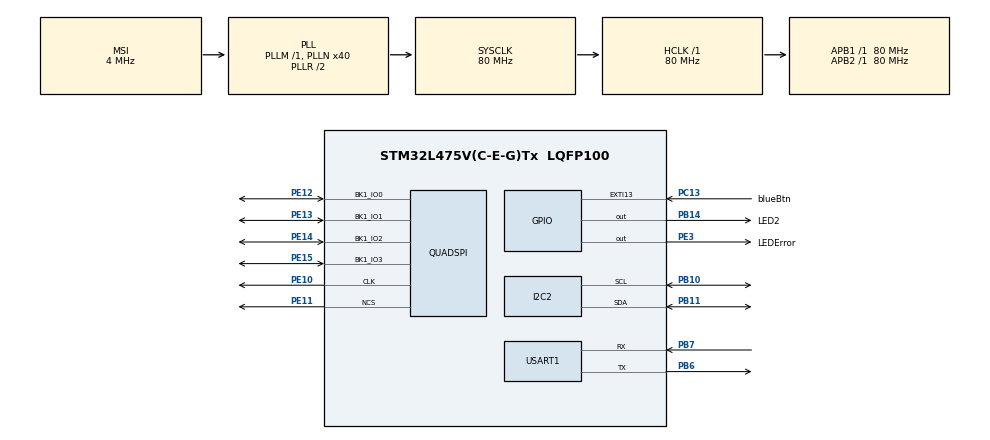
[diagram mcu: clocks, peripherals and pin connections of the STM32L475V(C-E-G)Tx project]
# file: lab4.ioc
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FREERTOS.Tasks01=chageModeTask,0,128,StartChangeModeTask,Default,NULL,Dynamic,NULL,NULL;transmitDataTas,0,256,StartTransmitDataTask,Default,NULL,Dynamic,NULL,NULL;readSensorTask,0,128,StartReadSensorTask,Default,NULL,Dynamic,NULL,NULL
I2C2.Timing=0x10909CEC
Mcu.Family=STM32L4
Mcu.Name=STM32L475V(C-E-G)Tx
Mcu.Package=LQFP100
NVIC.EXTI15_10_IRQn=true\:5\:0\:false\:false\:true\:true\:true\:true\:true
NVIC.PriorityGroup=NVIC_PRIORITYGROUP_4
NVIC.TIM1_UP_TIM16_IRQn=true\:15\:0\:false\:false\:true\:false\:false\:true\:true
NVIC.TimeBase=TIM1_UP_TIM16_IRQn
NVIC.TimeBaseIP=TIM16
PB10.Mode=I2C
PB10.Signal=I2C2_SCL
PB11.Mode=I2C
PB11.Signal=I2C2_SDA
PB14.GPIO_Label=LED2
PB14.Signal=GPIO_Output
PB6.Mode=Asynchronous
PB6.Signal=USART1_TX
PB7.Mode=Asynchronous
PB7.Signal=USART1_RX
PC13.GPIO_Label=blueBtn
PC13.Signal=GPXTI13
PE10.Mode=Single Bank
PE10.Signal=QUADSPI_CLK
PE11.Mode=Single Bank
PE11.Signal=QUADSPI_NCS
PE12.Mode=Single Bank
PE12.Signal=QUADSPI_BK1_IO0
PE13.Mode=Single Bank
PE13.Signal=QUADSPI_BK1_IO1
PE14.Mode=Single Bank
PE14.Signal=QUADSPI_BK1_IO2
PE15.Mode=Single Bank
PE15.Signal=QUADSPI_BK1_IO3
PE3.GPIO_Label=LEDError
PE3.Signal=GPIO_Output
ProjectManager.HeapSize=0x200
ProjectManager.StackSize=0x400
ProjectManager.TargetToolchain=STM32CubeIDE
RCC.ADCFreq_Value=48000000
RCC.AHBFreq_Value=80000000
RCC.APB1Freq_Value=80000000
RCC.APB1TimFreq_Value=80000000
RCC.APB2Freq_Value=80000000
RCC.APB2TimFreq_Value=80000000
RCC.CortexFreq_Value=80000000
RCC.HCLKFreq_Value=80000000
RCC.HSE_VALUE=8000000
RCC.HSI_VALUE=16000000
RCC.LSE_VALUE=32768
RCC.MSI_VALUE=4000000
RCC.PLLN=40
RCC.PLLSAI1N=24
RCC.SYSCLKFreq_VALUE=80000000
RCC.SYSCLKSource=RCC_SYSCLKSOURCE_PLLCLK
RCC.USBFreq_Value=48000000
RCC.VCOOutputFreq_Value=160000000
USART1.VirtualMode-Asynchronous=VM_ASYNC
VP_FREERTOS_VS_CMSIS_V1.Mode=CMSIS_V1
VP_SYS_VS_tim16.Mode=TIM16
board=B-L475E-IOT01A1

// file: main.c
/* USER CODE BEGIN Header */
/**
  ******************************************************************************
  * @file           : main.c
  * @brief          : Main program body
  ******************************************************************************
  * @attention
  *
  * Copyright (c) 2023 STMicroelectronics.
  * All rights reserved.
  *
  * This software is licensed under terms that can be found in the LICENSE file
  * in the root directory of this software component.
  * If no LICENSE file comes with this software, it is provided AS-IS.
  *
  ******************************************************************************
  */
/* USER CODE END Header */
#include "main.h"
#include "cmsis_os.h"

/* USER CODE BEGIN Includes */
#include "stm32l475e_iot01.h"
#include "stm32l475e_iot01_gyro.h"
#include "stm32l475e_iot01_accelero.h"
#include "stm32l475e_iot01_magneto.h"
#include "stm32l475e_iot01_hsensor.h"
#include "stm32l475e_iot01_tsensor.h"
#include "stm32l475e_iot01_psensor.h"
#include "stm32l475e_iot01_qspi.h"

#include <stdio.h>
#include <string.h>
/* USER CODE END Includes */

/* USER CODE BEGIN PM */
#define WRITE_READ_ADDR 0x00
/* USER CODE END PM */

I2C_HandleTypeDef hi2c2;

QSPI_HandleTypeDef hqspi;

UART_HandleTypeDef huart1;

osThreadId chageModeTaskHandle;
osThreadId transmitDataTasHandle;
osThreadId readSensorTaskHandle;
/* USER CODE BEGIN PV */
	float temperature;
	float pressure;
	char buf[1000];
	int counter = 0;

	uint8_t flag = 0;
	int sensorMode = -1;

	int eraseState = 0;
	int eraseArrFlashState = 0;
	int isRead = 0;
	uint32_t Addr_Start = WRITE_READ_ADDR;
	int validNum = 0;

	int temperatureNum = 0;
	uint8_t temperatureArr[1];
	uint8_t temperatureArrFlash[50] = {0};
	float temperatureSum = 0;
	float temperatureMean = 0;
	float temperatureVarSum = 0;
	float temperatureVar = 0;

	int pressureNum = 0;
	uint16_t pressureArr[1];
	uint16_t pressureArrFlash[10] = {0};
	float pressureSum = 0;
	float pressureMean = 0;
	float pressureVarSum = 0;
	float pressureVar = 0;

	int accNum = 0;
	int16_t acceleration[3];
	int accelerationXYZ[3];
	int accelerationXYZFlash[15];
	//////////////acc_X///////////////
	int accelerationX[5];
	int x = 0;
	int x_i = 0;
	int accelerationX_Sum;
	int accelerationX_Mean;
	int accelerationX_VarSum;
	int accelerationX_Variance;
	//////////////acc_Y///////////////
	int accelerationY[5];
	int y = 0;
	int y_i = 1;
	int accelerationY_Sum;
	int accelerationY_Mean;
	int accelerationY_VarSum;
	int accelerationY_Variance;
	//////////////acc_Z///////////////
	int accelerationZ[5];
	int z = 0;
	int z_i = 2;
	int accelerationZ_Sum;
	int accelerationZ_Mean;
	int accelerationZ_VarSum;
	int accelerationZ_Variance;

	int magNum = 0;
	int16_t magnetic[3];
	int magneticXYZ[3];
	int magneticXYZFlash[15];
	//////////////acc_X///////////////
	int magneticX[5];
	int magneticX_Sum;
	int magneticX_Mean;
	int magneticX_VarSum;
	int magneticX_Variance;
	//////////////acc_Y///////////////
	int magneticY[5];
	int magneticY_Sum;
	int magneticY_Mean;
	int magneticY_VarSum;
	int magneticY_Variance;
	//////////////acc_Z///////////////
	int magneticZ[5];
	int magneticZ_Sum;
	int magneticZ_Mean;
	int magneticZ_VarSum;
	int magneticZ_Variance;
	void HAL_GPIO_EXTI_Callback(uint16_t GPIO_Pin);
/* USER CODE END PV */

void SystemClock_Config(void);
static void MX_GPIO_Init(void);
static void MX_I2C2_Init(void);
static void MX_USART1_UART_Init(void);
static void MX_QUADSPI_Init(void);
void StartChangeModeTask(void const * argument);
void StartTransmitDataTask(void const * argument);
void StartReadSensorTask(void const * argument);

int main(void)
{
  /* USER CODE BEGIN 1 */
//
//---------------------------Part3_Test_Code-----------------------------------//
//	void *Addr_Start = WRITE_READ_ADDR;
//	void *Addr_Read = WRITE_READ_ADDR;
//
//	uint8_t example_arr[5] = {0,1,2,3,4};
//	uint8_t example_copy[5] = {0,0,0,0,0};
//
//	uint8_t example_arr2[3] = {5,6,7};
//	uint8_t example_copy2[8];

  /* USER CODE END 1 */

  /* MCU Configuration--------------------------------------------------------*/

  /* Reset of all peripherals, Initializes the Flash interface and the Systick. */
  HAL_Init();

  /* USER CODE BEGIN Init */
  BSP_PSENSOR_Init ();
  BSP_HSENSOR_Init ();
  BSP_TSENSOR_Init ();
  BSP_GYRO_Init ();
  BSP_MAGNETO_Init();
  BSP_ACCELERO_Init();

  /* USER CODE END Init */

  /* Configure the system clock */
  SystemClock_Config();

  /* Initialize all configured peripherals */
  MX_GPIO_Init();
  MX_I2C2_Init();
  MX_USART1_UART_Init();
  MX_QUADSPI_Init();
  /* USER CODE BEGIN 2 */
  BSP_QSPI_Init();
  /* USER CODE END 2 */

  /* Create the thread(s) */
  /* definition and creation of chageModeTask */
  osThreadDef(chageModeTask, StartChangeModeTask, osPriorityNormal, 0, 128);
  chageModeTaskHandle = osThreadCreate(osThread(chageModeTask), NULL);

  /* definition and creation of transmitDataTas */
  osThreadDef(transmitDataTas, StartTransmitDataTask, osPriorityNormal, 0, 256);
  transmitDataTasHandle = osThreadCreate(osThread(transmitDataTas), NULL);

  /* definition and creation of readSensorTask */
  osThreadDef(readSensorTask, StartReadSensorTask, osPriorityNormal, 0, 128);
  readSensorTaskHandle = osThreadCreate(osThread(readSensorTask), NULL);

  /* Start scheduler */
  osKernelStart();

  /* We should never get here as control is now taken by the scheduler */
  /* Infinite loop */
  while (1)
  {

    /* USER CODE BEGIN 3 */

// ----------------------------------------------PART1_v1------------------------------------------------------- //
	  /*
	  BSP_GYRO_GetXYZ(angVelocity);
	  humidity = BSP_HSENSOR_ReadHumidity();
	  temperature = BSP_TSENSOR_ReadTemp();
	  pressure = BSP_PSENSOR_ReadPressure();
	  sprintf(buf,
			  "1.Angular Velocity: X:%.2f, Y:%.2f, Z:%.2f\r\n"
			  "2.Humidity:%.2f\r\n"
			  "3.Temperature: %.2f\r\n"
			  "4.Pressure:%.2f\r\n"
			  " \r\n",
			  angVelocity[0], angVelocity[1], angVelocity[2], humidity, temperature, pressure);
	  HAL_UART_Transmit(&huart1, buf, sizeof(buf), 1000);
	  //read each sensor value (four of them) at 10 Hz.
	  HAL_Delay(100);
	   */
//
//	  counter = 0;
//	  while(1){
//		  BSP_GYRO_GetXYZ(angVelocity);
//		  humidity = BSP_HSENSOR_ReadHumidity();
//		  temperature = BSP_TSENSOR_ReadTemp();
//		  pressure = BSP_PSENSOR_ReadPressure();
//
//		  while((HAL_GPIO_ReadPin (blueBtn_GPIO_Port, blueBtn_Pin) == 0) && counter%4 == 0){
//			  if((HAL_GPIO_ReadPin (blueBtn_GPIO_Port, blueBtn_Pin) == 1)&& counter%4 == 0){
//				  sprintf(buf,
//						  "1.Angular Velocity: X:%.2f, Y:%.2f, Z:%.2f\r\n"
//						  " \r\n",
//						  angVelocity[0], angVelocity[1], angVelocity[2]);
//				  HAL_UART_Transmit(&huart1, buf, sizeof(buf), 1000);
//				  counter++;
//				  break;
//			  }
//		  }
//
//		  while((HAL_GPIO_ReadPin (blueBtn_GPIO_Port, blueBtn_Pin) == 0) && counter%4 == 1){
//			  if((HAL_GPIO_ReadPin (blueBtn_GPIO_Port, blueBtn_Pin) == 1)&& counter%4 == 1){
//				  sprintf(buf,
//						  "2.Humidity:%.2f\r\n"
//						  " \r\n",
//						  humidity);
//				  HAL_UART_Transmit(&huart1, buf, sizeof(buf), 1000);
//				  counter++;
//				  break;
//			  }
//		  }
//
//		  while((HAL_GPIO_ReadPin (blueBtn_GPIO_Port, blueBtn_Pin) == 0) && counter%4 == 2){
//			  if((HAL_GPIO_ReadPin (blueBtn_GPIO_Port, blueBtn_Pin) == 1)&& counter%4 == 2){
//				  sprintf(buf,
//						  "3.Temperature: %.2f\r\n"
//						  " \r\n",
//						  temperature);
//				  HAL_UART_Transmit(&huart1, buf, sizeof(buf), 1000);
//				  counter++;
//				  break;
//			  }
//		  }
//
//		  while((HAL_GPIO_ReadPin (blueBtn_GPIO_Port, blueBtn_Pin) == 0) && counter%4 == 3){
//			  if((HAL_GPIO_ReadPin (blueBtn_GPIO_Port, blueBtn_Pin) == 1)&& counter%4 == 3){
//				  sprintf(buf,
//						  "4.Pressure:%.2f\r\n"
//						  " \r\n",
//						  pressure);
//				  HAL_UART_Transmit(&huart1, buf, sizeof(buf), 1000);
//				  counter++;
//				  break;
//			  }
//		  }
//		  //clear buf: make sure vlaues for angular velocity won't be printed when only other three values are expected
//		  memset(buf, '\0', sizeof(buf));
//	  }

// ----------------------------------------------PART1_v1------------------------------------------------------- //

// -----------------------------------------PART3-------------------------------------------------- //
	  /*
	  HAL_GPIO_WritePin(LEDError_GPIO_Port, LEDError_Pin, GPIO_PIN_SET);
	  if(BSP_QSPI_Erase_Block((uint32_t) WRITE_READ_ADDR) != QSPI_OK)
		  Error_Handler();
	  	  if(BSP_QSPI_Write(example_arr, (uint32_t) WRITE_READ_ADDR, sizeof(example_arr)) != QSPI_OK)
	  		  Error_Handler();
	  	  if(BSP_QSPI_Read(example_copy, (uint32_t) WRITE_READ_ADDR, sizeof(example_copy)) != QSPI_OK)
	  		  Error_Handler();

	  	  if(BSP_QSPI_Write(example_arr2, (uint32_t) WRITE_READ_ADDR + sizeof(example_arr), sizeof(example_arr2)) != QSPI_OK)
	  		  Error_Handler();
	  	  if(BSP_QSPI_Read(example_copy2, (uint32_t) WRITE_READ_ADDR, sizeof(example_copy2)) != QSPI_OK)
	  		  Error_Handler();
	   */
  }
  /* USER CODE END 3 */
}

void SystemClock_Config(void)
{
  RCC_OscInitTypeDef RCC_OscInitStruct = {0};
  RCC_ClkInitTypeDef RCC_ClkInitStruct = {0};

  /** Configure the main internal regulator output voltage
  */
  if (HAL_PWREx_ControlVoltageScaling(PWR_REGULATOR_VOLTAGE_SCALE1) != HAL_OK)
  {
    Error_Handler();
  }

  /** Initializes the RCC Oscillators according to the specified parameters
  * in the RCC_OscInitTypeDef structure.
  */
  RCC_OscInitStruct.OscillatorType = RCC_OSCILLATORTYPE_MSI;
  RCC_OscInitStruct.MSIState = RCC_MSI_ON;
  RCC_OscInitStruct.MSICalibrationValue = 0;
  RCC_OscInitStruct.MSIClockRange = RCC_MSIRANGE_6;
  RCC_OscInitStruct.PLL.PLLState = RCC_PLL_ON;
  RCC_OscInitStruct.PLL.PLLSource = RCC_PLLSOURCE_MSI;
  RCC_OscInitStruct.PLL.PLLM = 1;
  RCC_OscInitStruct.PLL.PLLN = 40;
  RCC_OscInitStruct.PLL.PLLP = RCC_PLLP_DIV7;
  RCC_OscInitStruct.PLL.PLLQ = RCC_PLLQ_DIV2;
  RCC_OscInitStruct.PLL.PLLR = RCC_PLLR_DIV2;
  if (HAL_RCC_OscConfig(&RCC_OscInitStruct) != HAL_OK)
  {
    Error_Handler();
  }

  /** Initializes the CPU, AHB and APB buses clocks
  */
  RCC_ClkInitStruct.ClockType = RCC_CLOCKTYPE_HCLK|RCC_CLOCKTYPE_SYSCLK
                              |RCC_CLOCKTYPE_PCLK1|RCC_CLOCKTYPE_PCLK2;
  RCC_ClkInitStruct.SYSCLKSource = RCC_SYSCLKSOURCE_PLLCLK;
  RCC_ClkInitStruct.AHBCLKDivider = RCC_SYSCLK_DIV1;
  RCC_ClkInitStruct.APB1CLKDivider = RCC_HCLK_DIV1;
  RCC_ClkInitStruct.APB2CLKDivider = RCC_HCLK_DIV1;

  if (HAL_RCC_ClockConfig(&RCC_ClkInitStruct, FLASH_LATENCY_4) != HAL_OK)
  {
    Error_Handler();
  }
}

static void MX_I2C2_Init(void)
{

  hi2c2.Instance = I2C2;
  hi2c2.Init.Timing = 0x10909CEC;
  hi2c2.Init.OwnAddress1 = 0;
  hi2c2.Init.AddressingMode = I2C_ADDRESSINGMODE_7BIT;
  hi2c2.Init.DualAddressMode = I2C_DUALADDRESS_DISABLE;
  hi2c2.Init.OwnAddress2 = 0;
  hi2c2.Init.OwnAddress2Masks = I2C_OA2_NOMASK;
  hi2c2.Init.GeneralCallMode = I2C_GENERALCALL_DISABLE;
  hi2c2.Init.NoStretchMode = I2C_NOSTRETCH_DISABLE;
  if (HAL_I2C_Init(&hi2c2) != HAL_OK)
  {
    Error_Handler();
  }

  /** Configure Analogue filter
  */
  if (HAL_I2CEx_ConfigAnalogFilter(&hi2c2, I2C_ANALOGFILTER_ENABLE) != HAL_OK)
  {
    Error_Handler();
  }

  /** Configure Digital filter
  */
  if (HAL_I2CEx_ConfigDigitalFilter(&hi2c2, 0) != HAL_OK)
  {
    Error_Handler();
  }

}

static void MX_QUADSPI_Init(void)
{

  /* QUADSPI parameter configuration*/
  hqspi.Instance = QUADSPI;
  hqspi.Init.ClockPrescaler = 255;
  hqspi.Init.FifoThreshold = 1;
  hqspi.Init.SampleShifting = QSPI_SAMPLE_SHIFTING_NONE;
  hqspi.Init.FlashSize = 1;
  hqspi.Init.ChipSelectHighTime = QSPI_CS_HIGH_TIME_1_CYCLE;
  hqspi.Init.ClockMode = QSPI_CLOCK_MODE_0;
  if (HAL_QSPI_Init(&hqspi) != HAL_OK)
  {
    Error_Handler();
  }

}

static void MX_USART1_UART_Init(void)
{

  huart1.Instance = USART1;
  huart1.Init.BaudRate = 115200;
  huart1.Init.WordLength = UART_WORDLENGTH_8B;
  huart1.Init.StopBits = UART_STOPBITS_1;
  huart1.Init.Parity = UART_PARITY_NONE;
  huart1.Init.Mode = UART_MODE_TX_RX;
  huart1.Init.HwFlowCtl = UART_HWCONTROL_NONE;
  huart1.Init.OverSampling = UART_OVERSAMPLING_16;
  huart1.Init.OneBitSampling = UART_ONE_BIT_SAMPLE_DISABLE;
  huart1.AdvancedInit.AdvFeatureInit = UART_ADVFEATURE_NO_INIT;
  if (HAL_UART_Init(&huart1) != HAL_OK)
  {
    Error_Handler();
  }

}

static void MX_GPIO_Init(void)
{
  GPIO_InitTypeDef GPIO_InitStruct = {0};

  /* GPIO Ports Clock Enable */
  __HAL_RCC_GPIOE_CLK_ENABLE();
  __HAL_RCC_GPIOC_CLK_ENABLE();
  __HAL_RCC_GPIOB_CLK_ENABLE();

  /*Configure GPIO pin Output Level */
  HAL_GPIO_WritePin(LEDError_GPIO_Port, LEDError_Pin, GPIO_PIN_RESET);

  /*Configure GPIO pin Output Level */
  HAL_GPIO_WritePin(LED2_GPIO_Port, LED2_Pin, GPIO_PIN_RESET);

  /*Configure GPIO pin : LEDError_Pin */
  GPIO_InitStruct.Pin = LEDError_Pin;
  GPIO_InitStruct.Mode = GPIO_MODE_OUTPUT_PP;
  GPIO_InitStruct.Pull = GPIO_NOPULL;
  GPIO_InitStruct.Speed = GPIO_SPEED_FREQ_LOW;
  HAL_GPIO_Init(LEDError_GPIO_Port, &GPIO_InitStruct);

  /*Configure GPIO pin : blueBtn_Pin */
  GPIO_InitStruct.Pin = blueBtn_Pin;
  GPIO_InitStruct.Mode = GPIO_MODE_IT_RISING;
  GPIO_InitStruct.Pull = GPIO_NOPULL;
  HAL_GPIO_Init(blueBtn_GPIO_Port, &GPIO_InitStruct);

  /*Configure GPIO pin : LED2_Pin */
  GPIO_InitStruct.Pin = LED2_Pin;
  GPIO_InitStruct.Mode = GPIO_MODE_OUTPUT_PP;
  GPIO_InitStruct.Pull = GPIO_NOPULL;
  GPIO_InitStruct.Speed = GPIO_SPEED_FREQ_LOW;
  HAL_GPIO_Init(LED2_GPIO_Port, &GPIO_InitStruct);

  /* EXTI interrupt init*/
  HAL_NVIC_SetPriority(EXTI15_10_IRQn, 5, 0);
  HAL_NVIC_EnableIRQ(EXTI15_10_IRQn);

}

/* USER CODE BEGIN 4 */

// ----------------------------------------------PART1------------------------------------------------------- //
/*
void HAL_GPIO_EXTI_Callback(uint16_t GPIO_Pin){
	BSP_GYRO_GetXYZ(angVelocity);
	humidity = BSP_HSENSOR_ReadHumidity();
	temperature = BSP_TSENSOR_ReadTemp();
	pressure = BSP_PSENSOR_ReadPressure();

	if (GPIO_Pin == blueBtn_Pin){
		HAL_GPIO_TogglePin(LED2_GPIO_Port, LED2_Pin);
		counter++;
	}

	if(counter > 3){
		counter = 0;
	}

	if(counter%4 == 0){
		sprintf(buf,
				"1.Angular Velocity: X:%.2f, Y:%.2f, Z:%.2f\r\n"
				" \r\n",
				angVelocity[0], angVelocity[1], angVelocity[2]);
		HAL_UART_Transmit(&huart1, buf, sizeof(buf), 1000);
	}

	if(counter%4 == 1){
		sprintf(buf,
				"2.Humidity:%.2f\r\n"
				" \r\n",
				humidity);
		HAL_UART_Transmit(&huart1, buf, sizeof(buf), 1000);
	}

	if(counter%4 == 2){
		sprintf(buf,
				"3.Temperature: %.2f\r\n"
				" \r\n",
				temperature);
		HAL_UART_Transmit(&huart1, buf, sizeof(buf), 1000);
	}

	if(counter%4 == 3){
		sprintf(buf,
				"4.Pressure:%.2f\r\n"
				" \r\n",
				pressure);
		HAL_UART_Transmit(&huart1, buf, sizeof(buf), 1000);
	}

	//clear buf: make sure vlaues for angular velocity won't be printed when only other three values are expected
	memset(buf, '\0', sizeof(buf));
}
*/
// ----------------------------------------------PART1------------------------------------------------------- //

// ---------------------------------------------------PART2------------------------------------------------------- //
void HAL_GPIO_EXTI_Callback(uint16_t GPIO_Pin){
	if (GPIO_Pin == blueBtn_Pin){
		HAL_GPIO_WritePin(LEDError_GPIO_Port, LEDError_Pin, 1);
		flag = 1;
	}
}

/* USER CODE END 4 */

/* USER CODE BEGIN Header_StartChangeModeTask */
///**
//  * @brief  Function implementing the chageModeTask thread.
//  * @param  argument: Not used
//  * @retval None
//  */
/* USER CODE END Header_StartChangeModeTask */
void StartChangeModeTask(void const * argument)
{
  /* USER CODE BEGIN 5 */
//	/* Infinite loop */
	for(;;)
	{
		osDelay(100);
		if(flag == 1){
			flag = 0;
			sensorMode = counter % 5;
			eraseState = 0;
			eraseArrFlashState = 0;
			Addr_Start = 0x00;
			validNum = 0;
			isRead = 0;
			counter++;

			x_i = 0;
			x = 0;
			y_i = 1;
			y = 0;
			z_i = 2;
			z = 0;
			if(counter > 4){
				counter = 0;
			}
		}
	}
  /* USER CODE END 5 */
}

/* USER CODE BEGIN Header_StartTransmitDataTask */
///**
//* @brief Function implementing the transmitDataTas thread.
//* @param argument: Not used
//* @retval None
//*/
/* USER CODE END Header_StartTransmitDataTask */
void StartTransmitDataTask(void const * argument)
{
  /* USER CODE BEGIN StartTransmitDataTask */
	// UART status
	HAL_StatusTypeDef UART_status;
	HAL_UART_Init(&huart1);

	/* Infinite loop */
	for(;;)
	{
		osDelay(100);

		/////////---------------Temperature------------------///////////
		if(sensorMode == 0){
			if(eraseState == 0){
				eraseState = 1;
				//Erase block
				if(BSP_QSPI_Erase_Block((uint32_t) WRITE_READ_ADDR) != QSPI_OK)
					Error_Handler();
			}

			if(eraseArrFlashState == 0){
				eraseArrFlashState = 1;
				for(int i = 0; i < sizeof(temperatureArrFlash); i++){
					temperatureArrFlash[i] = 0;
				}
			}

			temperatureArr[0] = temperature;

			//Write data
			if(BSP_QSPI_Write(temperatureArr, Addr_Start, sizeof(temperatureArr)) != QSPI_OK)
				Error_Handler();
			Addr_Start += sizeof(temperatureArr);

			//Read data (test: pass for now)
			if(BSP_QSPI_Read(temperatureArrFlash, (uint32_t) WRITE_READ_ADDR, sizeof(temperatureArrFlash)) != QSPI_OK){
				Error_Handler();
			} else {
				isRead++;
				if(isRead > 50){
					isRead = 50;
				}
			}

			//#Sample
			temperatureNum = isRead;

			//Calculate mean value: temperature
			temperatureSum = 0;
			for(int i = 0; i < isRead; i++){
				temperatureSum += temperatureArrFlash[i];
			}
			temperatureMean = temperatureSum / (float)isRead;

			//Calculate variance value: pressure
			temperatureVarSum = 0;
			for(int i = 0; i < isRead; i++){
				temperatureVarSum = (float)temperatureVarSum + (float)((temperatureArrFlash[i]-temperatureMean) * (temperatureArrFlash[i]-temperatureMean));
			}
			temperatureVar = (float)(temperatureVarSum / (float)isRead);
			sprintf(buf,
					"1.Temperature:%.2d\r\n"
					" \r\n",
					(int)temperature);
			HAL_UART_Transmit(&huart1, buf, sizeof(buf), 1000);
		}

		/////////---------------Pressure------------------///////////
		if(sensorMode == 1){
			if(eraseState == 0){
				eraseState = 1;
				//Erase block
				if(BSP_QSPI_Erase_Block((uint32_t) WRITE_READ_ADDR) != QSPI_OK)
					Error_Handler();
			}

			if(eraseArrFlashState == 0){
				eraseArrFlashState = 1;
				for(int i = 0; i < sizeof(pressureArrFlash); i++){
					pressureArrFlash[i] = 0;
				}
			}

			pressureArr[0] = pressure;

			//Write data
			if(BSP_QSPI_Write(pressureArr, Addr_Start, sizeof(pressureArr)) != QSPI_OK)
				Error_Handler();
			Addr_Start += sizeof(pressureArr);

			//Read data (test: pass for now)
			if(BSP_QSPI_Read(pressureArrFlash, (uint32_t) WRITE_READ_ADDR, sizeof(pressureArrFlash)) != QSPI_OK){
				Error_Handler();
			} else {
				isRead++;
				if(isRead > 10){
					isRead = 10;
				}
			}

			//#Sample
			pressureNum = isRead;

			//Calculate mean value: pressure
			pressureSum = 0;
			for(int i = 0; i < isRead; i++){
				pressureSum += pressureArrFlash[i];
			}
			pressureMean = pressureSum / (float)isRead;

			//Calculate variance value: pressure
			pressureVarSum = 0;
			for(int i = 0; i < isRead; i++){
				pressureVarSum = (float)pressureVarSum + (float)((pressureArrFlash[i]-pressureMean) * (pressureArrFlash[i]-pressureMean));
			}
			pressureVar = 100*(float)(pressureVarSum / (float)isRead);
			sprintf(buf,
					"2.Pressure:%.2d\r\n"
					" \r\n",
					(int)pressure);
			HAL_UART_Transmit(&huart1, buf, sizeof(buf), 1000);
		}

		/////////---------------Acceleration------------------///////////
		if(sensorMode == 2){
			if(eraseState == 0){
				eraseState = 1;
				//Erase block
				if(BSP_QSPI_Erase_Block((uint32_t) WRITE_READ_ADDR) != QSPI_OK)
					Error_Handler();
			}

			if(validNum > 5){

				for(int i = 0; i < 3; i++){
					accelerationXYZ[i] = acceleration[i];
				}

				//Write data
				if(BSP_QSPI_Write(accelerationXYZ, Addr_Start, sizeof(accelerationXYZ)) != QSPI_OK)
					Error_Handler();
				Addr_Start += sizeof(accelerationXYZ);

				if(eraseArrFlashState == 0){
					eraseArrFlashState = 1;
					for(int i = 0; i < sizeof(accelerationXYZFlash); i++){
						accelerationXYZFlash[i] = 0;
					}
				}

				//Read data (test: pass for now)
				if(BSP_QSPI_Read(accelerationXYZFlash, (uint32_t) WRITE_READ_ADDR, sizeof(accelerationXYZFlash)) != QSPI_OK){
					Error_Handler();
				} else {
					isRead += 3;
					if(isRead > 15){
						isRead = 15;
					}
				}

				//Split X, Y, Z:
				while(x_i < isRead){
					accelerationX[x] = accelerationXYZFlash[x_i];
					x++;
					x_i+=3;
				}
				while(y_i < isRead){
					accelerationY[y] = accelerationXYZFlash[y_i];
					y++;
					y_i+=3;
				}
				while(z_i < isRead){
					accelerationZ[z] = accelerationXYZFlash[z_i];
					z++;
					z_i+=3;
				}

				//#Sample
				accNum = z;

				//Mean X:
				accelerationX_Sum = 0;
				for(int i = 0; i < x; i++){
					accelerationX_Sum += accelerationX[i];
				}
				accelerationX_Mean = (float)accelerationX_Sum/(float)x;
				//Mean Y:
				accelerationY_Sum = 0;
				for(int i = 0; i < y; i++){
					accelerationY_Sum += accelerationY[i];
				}
				accelerationY_Mean = (float)accelerationY_Sum/(float)y;
				//Mean Z:
				accelerationZ_Sum = 0;
				for(int i = 0; i < z; i++){
					accelerationZ_Sum += accelerationZ[i];
				}
				accelerationZ_Mean = (float)accelerationZ_Sum/(float)z;

				//Variance X:
				accelerationX_VarSum = 0;
				for(int i = 0; i < x; i++){
					accelerationX_VarSum = (float)accelerationX_VarSum + (float)((accelerationX[i]-accelerationX_Mean) * (accelerationX[i]-accelerationX_Mean));
				}
				accelerationX_Variance = (float)(accelerationX_VarSum / (float)x);
				//Variance Y:
				accelerationY_VarSum = 0;
				for(int i = 0; i < y; i++){
					accelerationY_VarSum = (float)accelerationY_VarSum + (float)((accelerationY[i]-accelerationY_Mean) * (accelerationY[i]-accelerationY_Mean));
				}
				accelerationY_Variance = (float)(accelerationY_VarSum / (float)y);
				//Variance Z:
				accelerationZ_VarSum = 0;
				for(int i = 0; i < z; i++){
					accelerationZ_VarSum = (float)accelerationZ_VarSum + (float)((accelerationZ[i]-accelerationZ_Mean) * (accelerationZ[i]-accelerationZ_Mean));
				}
				accelerationZ_Variance = (float)(accelerationZ_VarSum / (float)z);

				sprintf(buf,
						"3.Acceleration: X:%.2d, Y:%.2d, Z:%.2d\r\n"
						" \r\n",
						(int)acceleration[0],(int)acceleration[1], (int)acceleration[2]);
				HAL_UART_Transmit(&huart1, buf, sizeof(buf), 1000);
			}

		}

		/////////---------------Magnetic------------------///////////
		if(sensorMode == 3){
			if(eraseState == 0){
				eraseState = 1;
				//Erase block
				if(BSP_QSPI_Erase_Block((uint32_t) WRITE_READ_ADDR) != QSPI_OK)
					Error_Handler();
			}

			for(int i = 0; i < 3; i++){
				magneticXYZ[i] = magnetic[i];
			}

			//Write data
			if(BSP_QSPI_Write(magneticXYZ, Addr_Start, sizeof(magneticXYZ)) != QSPI_OK)
				Error_Handler();
			Addr_Start += sizeof(magneticXYZ);

			if(eraseArrFlashState == 0){
				eraseArrFlashState = 1;
				for(int i = 0; i < sizeof(magneticXYZFlash); i++){
					magneticXYZFlash[i] = 0;
				}
			}

			//Read data (test: pass for now)
			if(BSP_QSPI_Read(magneticXYZFlash, (uint32_t) WRITE_READ_ADDR, sizeof(magneticXYZFlash)) != QSPI_OK){
				Error_Handler();
			} else {
				isRead += 3;
				if(isRead > 15){
					isRead = 15;
				}
			}

			//Split X, Y, Z:
			while(x_i < isRead){
				magneticX[x] = magneticXYZFlash[x_i];
				x++;
				x_i+=3;
			}
			while(y_i < isRead){
				magneticY[y] = magneticXYZFlash[y_i];
				y++;
				y_i+=3;
			}
			while(z_i < isRead){
				magneticZ[z] = magneticXYZFlash[z_i];
				z++;
				z_i+=3;
			}

			//#Sample
			magNum = z;

			//Mean X:
			magneticX_Sum = 0;
			for(int i = 0; i < x; i++){
				magneticX_Sum += magneticX[i];
			}
			magneticX_Mean = (float)magneticX_Sum/(float)x;
			//Mean Y:
			magneticY_Sum = 0;
			for(int i = 0; i < y; i++){
				magneticY_Sum += magneticY[i];
			}
			magneticY_Mean = (float)magneticY_Sum/(float)y;
			//Mean Z:
			magneticZ_Sum = 0;
			for(int i = 0; i < z; i++){
				magneticZ_Sum += magneticZ[i];
			}
			magneticZ_Mean = (float)magneticZ_Sum/(float)z;

			//Variance X:
			magneticX_VarSum = 0;
			for(int i = 0; i < x; i++){
				magneticX_VarSum = (float)magneticX_VarSum + (float)((magneticX[i]-magneticX_Mean) * (magneticX[i]-magneticX_Mean));
			}
			magneticX_Variance = (float)(magneticX_VarSum / (float)x);
			//Variance Y:
			magneticY_VarSum = 0;
			for(int i = 0; i < y; i++){
				magneticY_VarSum = (float)magneticY_VarSum + (float)((magneticY[i]-magneticY_Mean) * (magneticY[i]-magneticY_Mean));
			}
			magneticY_Variance = (float)(magneticY_VarSum / (float)y);
			//Variance Z:
			magneticZ_VarSum = 0;
			for(int i = 0; i < z; i++){
				magneticZ_VarSum = (float)magneticZ_VarSum + (float)((magneticZ[i]-magneticZ_Mean) * (magneticZ[i]-magneticZ_Mean));
			}
			magneticZ_Variance = (float)(magneticZ_VarSum / (float)z);
			sprintf(buf,
					"4.Magnetic: X: %.2d, Y: %.2d, Z: %.2d\r\n"
					" \r\n",
					(int)magnetic[0], (int)magnetic[1], (int)magnetic[2]);
			HAL_UART_Transmit(&huart1, buf, sizeof(buf), 1000);

		}

		/////////---------------Report------------------///////////
		if(sensorMode == 4){
			sprintf(buf,
					"5.1 Temperature Report: Mean: %.2d, Variance: %.2d, Sample Num: %.2d\r\n"
					"5.2 Pressure Report: Mean: %.2d, Variance(enlarger 100 times): %.2d, Sample Num: %.2d\r\n"
					"5.3.0 Acc Sample Num: %.2d\r\n"
					"5.3.1 Acceleration Report_Mean: X: %.2d, Y: %.2d, Z: %.2d\r\n"
					"5.3.2 Acceleration Report_Variance: X: %.2d, Y: %.2d, Z: %.2d\r\n"
					"5.4.0 Mag Sample Num: %.2d\r\n"
					"5.4.1 Magnetic Report_Mean: X: %.2d, Y: %.2d, Z: %.2d\r\n"
					"5.4.2 Magnetic Report_Variance: X: %.2d, Y: %.2d, Z: %.2d\r\n"
					" \r\n",
					(int)temperatureMean, (int)temperatureVar,(int)temperatureNum,
					(int)pressureMean, (int)pressureVar,(int)pressureNum,
					(int)accNum,
					(int)accelerationX_Mean, (int)accelerationY_Mean, (int)accelerationZ_Mean,
					(int)accelerationX_Variance, (int)accelerationY_Variance, (int)accelerationZ_Variance,
					(int)magNum,
					(int)magneticX_Mean, (int)magneticY_Mean, (int)magneticZ_Mean,
					(int)magneticX_Variance, (int)magneticY_Variance, (int)magneticZ_Variance);
			HAL_UART_Transmit(&huart1, buf, sizeof(buf), 1000);
		}

		//clear buf: make sure vlaues for angular velocity won't be printed when only other three values are expected
		memset(buf, '\0', sizeof(buf));

	}
  /* USER CODE END StartTransmitDataTask */
}

/* USER CODE BEGIN Header_StartReadSensorTask */
///**
//* @brief Function implementing the readSensorTask thread.
//* @param argument: Not used
//* @retval None
//*/
/* USER CODE END Header_StartReadSensorTask */
void StartReadSensorTask(void const * argument)
{
  /* USER CODE BEGIN StartReadSensorTask */
//  /* Infinite loop */
  for(;;)
  {
	  osDelay(100);
	  //Collect data from sensors
	  BSP_ACCELERO_AccGetXYZ(acceleration);
	  BSP_MAGNETO_GetXYZ(magnetic);
	  temperature = BSP_TSENSOR_ReadTemp();
	  pressure = BSP_PSENSOR_ReadPressure();

	  validNum++;

  }
  /* USER CODE END StartReadSensorTask */
}

void HAL_TIM_PeriodElapsedCallback(TIM_HandleTypeDef *htim)
{
  if (htim->Instance == TIM16) {
    HAL_IncTick();
  }
}

void Error_Handler(void)
{
  /* USER CODE BEGIN Error_Handler_Debug */
	HAL_GPIO_WritePin(LEDError_GPIO_Port, LEDError_Pin, GPIO_PIN_RESET);
	__BKPT();

  /* User can add his own implementation to report the HAL error return state */
//  __disable_irq();
//  while (1)
//  {
//  }
  /* USER CODE END Error_Handler_Debug */
}
